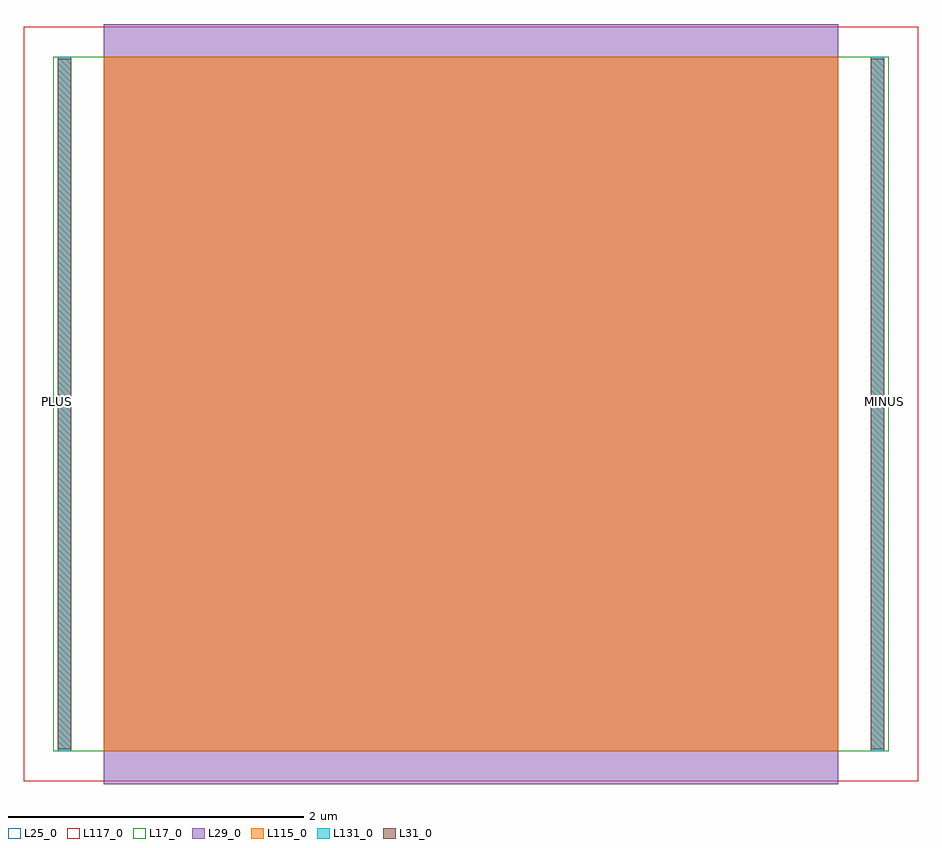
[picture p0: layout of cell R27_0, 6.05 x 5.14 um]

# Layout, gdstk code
import gdstk
lib = gdstk.Library(unit=1e-6, precision=1e-09)
def R(c, l, rs):  # rectangles x0, y0, x1, y1
    for r in rs: c.add(gdstk.rectangle(r[:2], r[2:], *l))
L17_0 = (17, 0)
L25_0 = (25, 0)
L29_0 = (29, 0)
L31_0 = (31, 0)
L115_0 = (115, 0)
L117_0 = (117, 0)
L131_0 = (131, 0)

r27_0 = lib.new_cell('R27_0')
R(r27_0, L17_0, [(0.2,0.22,5.85,4.92)])
R(r27_0, L25_0, [(0,0.02,6.05,5.12)])
R(r27_0, L29_0, [(0.54,0,5.51,5.14)])
R(r27_0, L31_0, [(0.23,0.235,0.32,4.905), (5.73,0.235,5.82,4.905)])
R(r27_0, L115_0, [(0.54,0.22,5.51,4.92)])
R(r27_0, L117_0, [(0,0.02,6.05,5.12)])
R(r27_0, L131_0, [(0.23,0.22,0.32,4.92), (5.73,0.22,5.82,4.92)])
r27_0.add(gdstk.Label('PLUS', (0.23,2.585), layer=131, texttype=0))
r27_0.add(gdstk.Label('MINUS', (5.82,2.585), layer=131, texttype=0))

lib.write_gds('R27_0.gds')
